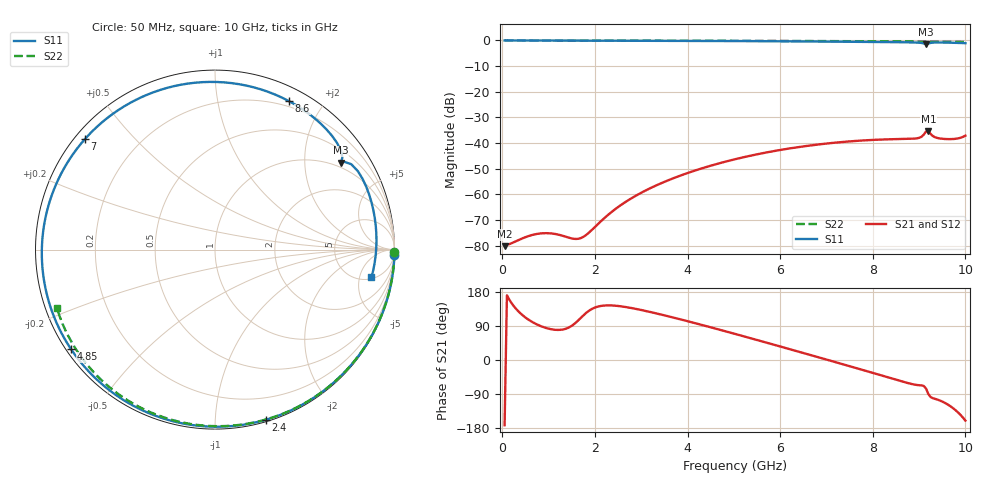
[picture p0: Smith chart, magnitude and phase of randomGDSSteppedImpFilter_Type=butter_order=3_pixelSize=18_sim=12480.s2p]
! freq	dB(S11)	phase(S11)	dB(S12)	phase(S12)
!  dB(S21)	phase(S21)	dB(S22)	phase(S22)
!S-par simulation data
#  GHz  S  DB  R 50
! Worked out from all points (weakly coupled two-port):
!   200 points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, 50 MHz to 10 GHz, reference 50 ohm
!   highest |S21| = -35.40 dB at 9.2 GHz (marker M1); lowest = -80.2 dB at 50 MHz (marker M2)
!   lowest |S11| = -1.4 dB at 9.15 GHz (marker M3), VSWR 12.51, Z = 42.3 + j149 ohm
!   |S11| at or under -10 dB: nowhere
!   |S22| runs from -0.6 to 0.0 dB; largest |S21 - S12| = 0
!   S11 on the Smith chart (normalised r, x): 50 MHz: 0, -73; 2.4 GHz: 0.01, -1.34; 4.85 GHz: 0.01, -0.31; 7 GHz: 0.03, +0.37; 8.6 GHz: 0.14, +1.61; 10 GHz: 5.36, -7.66
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0.05  -0.00 -1.6  -80.23 -172.1  -80.23 -172.1  -0.00 -0.9
0.8  -0.03 -25.0  -75.31 90.9  -75.31 90.9  -0.01 -14.5
1.1  -0.04 -34.2  -75.35 80.3  -75.35 80.3  -0.02 -19.8
1.55  -0.06 -47.9  -77.36 94.8  -77.36 94.8  -0.03 -27.8
1.75  -0.07 -53.9  -76.60 117.7  -76.60 117.7  -0.04 -31.3
2.4  -0.09 -73.3  -66.32 143.7  -66.32 143.7  -0.05 -42.6
3.4  -0.13 -102.5  -55.92 120.8  -55.92 120.8  -0.08 -59.4
4.1  -0.17 -122.9  -51.09 99.3  -51.09 99.3  -0.10 -70.9
4.85  -0.22 -145.3  -47.12 74.8  -47.12 74.8  -0.12 -82.7
5.05  -0.23 -151.4  -46.22 68.1  -46.22 68.1  -0.13 -85.8
5.9  -0.31 -179.0  -43.03 39.2  -43.03 39.2  -0.17 -98.8
6.7  -0.40 151.8  -40.84 11.6  -40.84 11.6  -0.22 -110.6
7  -0.44 139.7  -40.20 1.2  -40.20 1.2  -0.24 -115.0
7.75  -0.54 106.4  -39.04 -25.1  -39.04 -25.1  -0.29 -126.0
8.35  -0.64 76.6  -38.54 -46.6  -38.54 -46.6  -0.35 -134.7
8.6  -0.68 63.4  -38.45 -55.5  -38.45 -55.5  -0.37 -138.3
9  -0.88 41.4  -37.98 -66.6  -37.98 -66.6  -0.41 -144.2
9.15  -1.39 34.6  -35.51 -75.4  -35.51 -75.4  -0.44 -146.5
9.2  -1.25 34.6  -35.40 -89.7  -35.40 -89.7  -0.44 -147.2
9.3  -0.84 28.8  -37.31 -100.9  -37.31 -100.9  -0.45 -148.7
9.5  -0.81 16.9  -38.34 -109.6  -38.34 -109.6  -0.47 -151.8
10  -1.06 -10.1  -37.11 -159.9  -37.11 -159.9  -0.55 -159.7
